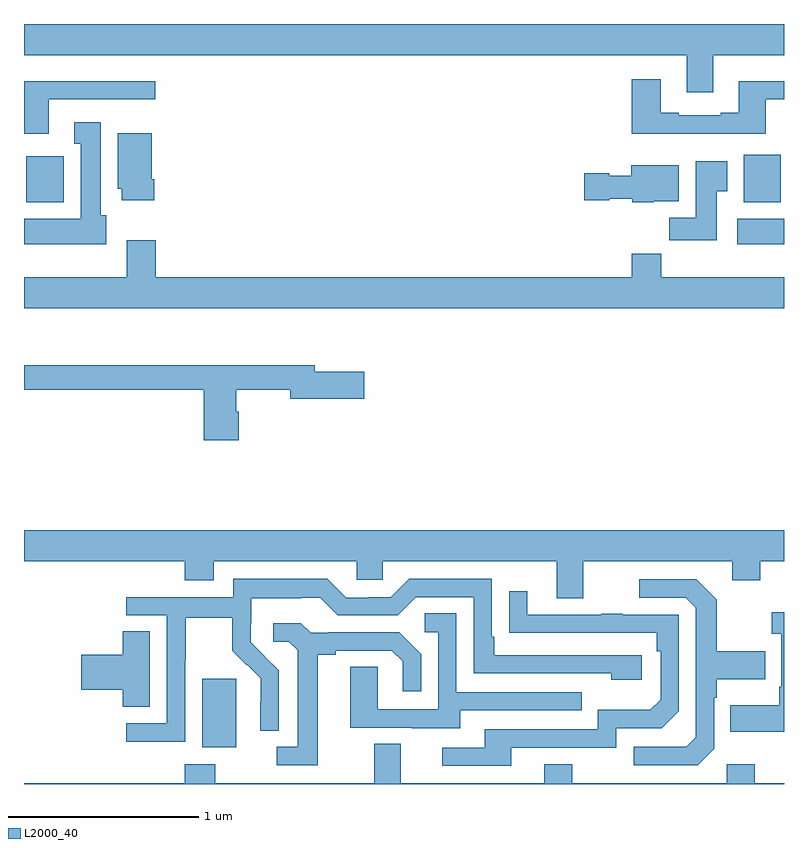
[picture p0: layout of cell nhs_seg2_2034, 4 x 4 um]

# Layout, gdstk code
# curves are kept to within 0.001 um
import gdstk
lib = gdstk.Library(unit=1e-6, precision=1e-09)
def R(c, l, rs):  # rectangles x0, y0, x1, y1
    for r in rs: c.add(gdstk.rectangle(r[:2], r[2:], *l))
def P(c, l, *ps):  # polygons
    for p in ps: c.add(gdstk.Polygon(p, *l))
L2000_40 = (2000, 40)

nhs_seg2_2034 = lib.new_cell('nhs_seg2_2034')
R(nhs_seg2_2034, L2000_40, [(217.937,643.994,218.116,644.355), (220.755,646.64,221,646.774), (217.013,646.862,217.21,647.104), (220.787,646.862,220.983,647.113)])
P(nhs_seg2_2034, L2000_40, [(220.627,647.636),(221,647.636),(221,647.8),(217,647.8),(217,647.636),(220.487,647.636),(220.487,647.442),(220.627,647.442)],
  [(220.903,647.403),(221,647.403),(221,647.5),(220.763,647.5),(220.763,647.332),(220.667,647.332),(220.667,647.319),(220.447,647.319),(220.447,647.332),(220.351,647.332),(220.351,647.509),(220.199,647.509),(220.199,647.222),(220.903,647.222)],
  [(217.129,647.403),(217.69,647.403),(217.69,647.5),(217,647.5),(217,647.222),(217.129,647.222)],
  [(217.432,646.794),(217.405,646.794),(217.405,647.284),(217.265,647.284),(217.265,647.171),(217.298,647.171),(217.298,646.774),(217,646.774),(217,646.64),(217.432,646.64)],
  [(217.685,646.984),(217.672,646.984),(217.672,647.224),(217.493,647.224),(217.493,646.932),(217.514,646.932),(217.514,646.872),(217.685,646.872)],
  [(220.645,646.921),(220.702,646.921),(220.702,647.077),(220.535,647.077),(220.535,646.78),(220.396,646.78),(220.396,646.662),(220.645,646.662)],
  [(220.314,646.868),(220.447,646.868),(220.447,647.056),(220.196,647.056),(220.196,647.002),(220.08,647.002),(220.08,647.015),(219.948,647.015),(219.948,646.873),(220.08,646.873),(220.08,646.88),(220.2,646.88),(220.2,646.862),(220.314,646.862)],
  [(221,646.468),(220.355,646.468),(220.355,646.592),(220.199,646.592),(220.199,646.468),(217.694,646.468),(217.694,646.663),(217.541,646.663),(217.541,646.468),(217,646.468),(217,646.304),(221,646.304)],
  [(218.129,645.759),(218.116,645.759),(218.116,645.874),(218.402,645.874),(218.402,645.827),(218.791,645.827),(218.791,645.969),(218.53,645.969),(218.53,646.003),(217,646.003),(217,645.874),(217.946,645.874),(217.946,645.609),(218.129,645.609)],
  [(219.943,644.972),(220.727,644.972),(220.727,644.873),(220.875,644.873),(220.875,644.972),(221,644.972),(221,645.136),(217,645.136),(217,644.972),(217.847,644.972),(217.847,644.873),(217.999,644.873),(217.999,644.972),(218.751,644.972),(218.751,644.874),(218.889,644.874),(218.889,644.972),(219.803,644.972),(219.803,644.778),(219.943,644.778)],
  [(217.848,644.452),(217.851,644.452),(217.851,644.676),(218.095,644.676),(218.095,644.501),(218.172,644.424),(218.175,644.427),(218.246,644.357),(218.246,644.234),(218.244,644.234),(218.244,644.08),(218.34,644.08),(218.34,644.398),(218.194,644.546),(218.194,644.643),(218.196,644.643),(218.196,644.777),(218.459,644.777),(218.459,644.781),(218.559,644.781),(218.652,644.688),(218.967,644.688),(219.063,644.784),(219.366,644.784),(219.366,644.382),(220.091,644.382),(220.091,644.348),(220.252,644.348),(220.252,644.478),(219.475,644.478),(219.475,644.575),(219.462,644.575),(219.462,644.88),(219.027,644.88),(218.931,644.784),(218.813,644.784),(218.813,644.781),(218.697,644.781),(218.597,644.881),(218.1,644.881),(218.1,644.784),(217.539,644.784),(217.539,644.688),(217.752,644.688),(217.752,644.121),(217.539,644.121),(217.539,644.023),(217.848,644.023)],
  [(220.632,643.986),(220.632,644.255),(220.645,644.255),(220.645,644.351),(220.901,644.351),(220.901,644.499),(220.645,644.499),(220.645,644.771),(220.539,644.877),(220.239,644.877),(220.239,644.781),(220.482,644.781),(220.536,644.727),(220.536,644.046),(220.485,643.995),(220.209,643.995),(220.209,643.899),(220.545,643.899)],
  [(219.565,643.992),(220.116,643.992),(220.116,644.094),(220.356,644.094),(220.446,644.184),(220.446,644.691),(220.151,644.691),(220.151,644.696),(220.039,644.696),(220.039,644.691),(219.649,644.691),(219.649,644.815),(219.553,644.815),(219.553,644.596),(220.33,644.595),(220.33,644.498),(220.35,644.498),(220.35,644.244),(220.297,644.191),(220.02,644.191),(220.02,644.088),(219.425,644.088),(219.425,643.992),(219.201,643.992),(219.201,643.896),(219.565,643.896)],
  [(221,644.704),(220.935,644.704),(220.935,644.591),(220.986,644.591),(220.986,644.311),(220.974,644.311),(220.974,644.215),(220.717,644.215),(220.717,644.075),(221,644.075)],
  [(219.295,644.187),(219.935,644.187),(219.935,644.283),(219.276,644.283),(219.276,644.699),(219.108,644.699),(219.108,644.598),(219.18,644.598),(219.18,644.193),(218.862,644.193),(218.862,644.417),(218.717,644.417),(218.717,644.097),(219.041,644.097),(219.041,644.093),(219.295,644.093)],
  [(218.545,644.48),(218.641,644.48),(218.641,644.502),(218.936,644.502),(218.993,644.445),(218.993,644.289),(219.09,644.289),(219.09,644.482),(218.974,644.598),(218.602,644.598),(218.602,644.595),(218.508,644.595),(218.456,644.647),(218.313,644.647),(218.313,644.55),(218.394,644.55),(218.441,644.503),(218.441,643.995),(218.331,643.995),(218.331,643.899),(218.545,643.899)],
  [(217.663,644.603),(217.52,644.603),(217.52,644.48),(217.302,644.48),(217.302,644.297),(217.52,644.297),(217.52,644.206),(217.663,644.206)],
  [(221,643.804),(220.845,643.804),(220.845,643.903),(220.698,643.903),(220.698,643.804),(219.885,643.804),(219.885,643.903),(219.737,643.903),(219.737,643.804),(218.983,643.804),(218.983,644.012),(218.843,644.012),(218.843,643.804),(218.007,643.804),(218.007,643.903),(217.847,643.903),(217.847,643.804),(217,643.804),(217,643.8),(221,643.8)])

lib.write_gds('nhs_seg2_2034.gds')
